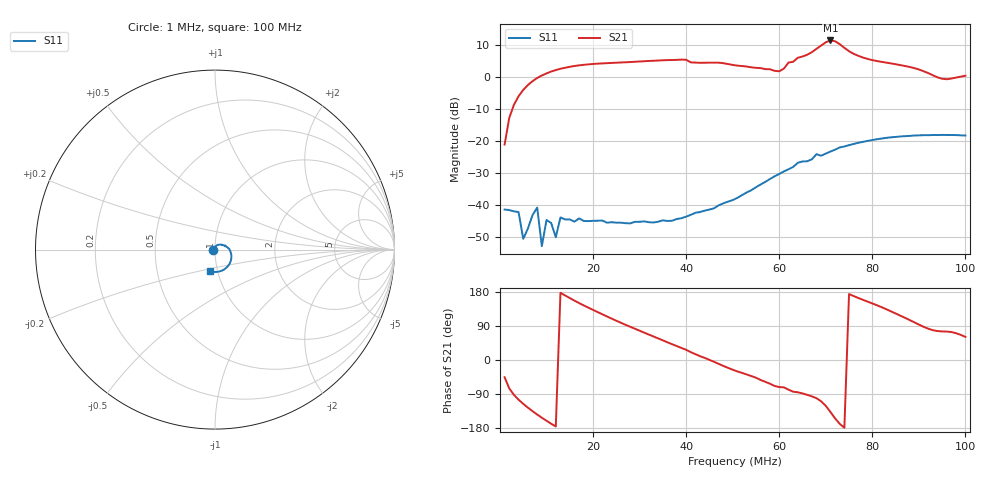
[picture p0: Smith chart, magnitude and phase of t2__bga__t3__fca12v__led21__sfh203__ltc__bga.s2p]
# HZ S RI R 50
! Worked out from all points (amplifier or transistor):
!   100 points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, 1 MHz to 100 MHz, reference 50 ohm
!   highest |S21| = 11.5 dB at 71 MHz (marker M1)
!   |S21| within 3 dB of that: 67.64 MHz to 74.65 MHz (7.003 MHz wide, 9.84 % of centre)
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1000001  -0.00848 -3.93e-05  0.0619 -0.0631  0 0  0 0
4000001  -0.0077 0.000744  -0.1286 -0.4866  0 0  0 0
5000001  0.000917 -0.0028  -0.2741 -0.5689  0 0  0 0
8000001  -0.00679 0.00605  -0.7857 -0.5715  0 0  0 0
9000001  -0.00217 -0.000664  -0.9415 -0.4927  0 0  0 0
1e7  -0.00575 -0.000816  -1.078 -0.3869  0 0  0 0
1.2e7  -0.00308 -0.000604  -1.288 -0.1027  0 0  0 0
1.8e7  -0.00556 0.00074  -1.264 0.916  0 0  0 0
2.6e7  -0.00524 0.000686  -0.2409 1.681  0 0  0 0
3.4e7  -0.00531 0.0013  0.9931 1.527  0 0  0 0
4e7  -0.00583 0.00303  1.669 0.8465  0 0  0 0
5.1e7  -0.000981 0.0129  1.311 -0.7614  0 0  0 0
6e7  0.0159 0.0261  0.3934 -1.172  0 0  0 0
6.7e7  0.0456 0.0244  -0.2515 -2.444  0 0  0 0
6.9e7  0.0555 0.0201  -1.012 -2.956  0 0  0 0
7.1e7  0.067 0.0141  -2.746 -2.561  0 0  0 0
7.2e7  0.0727 0.00971  -3.284 -1.601  0 0  0 0
7.3e7  0.0794 0.00365  -3.219 -0.6566  0 0  0 0
7.5e7  0.0857 -0.0101  -2.532 0.2656  0 0  0 0
8.4e7  0.0789 -0.0828  -1.023 1.286  0 0  0 0
9.2e7  0.0287 -0.1202  0.148 1.149  0 0  0 0
1e8  -0.0284 -0.1188  0.5082 0.9218  0 0  0 0
